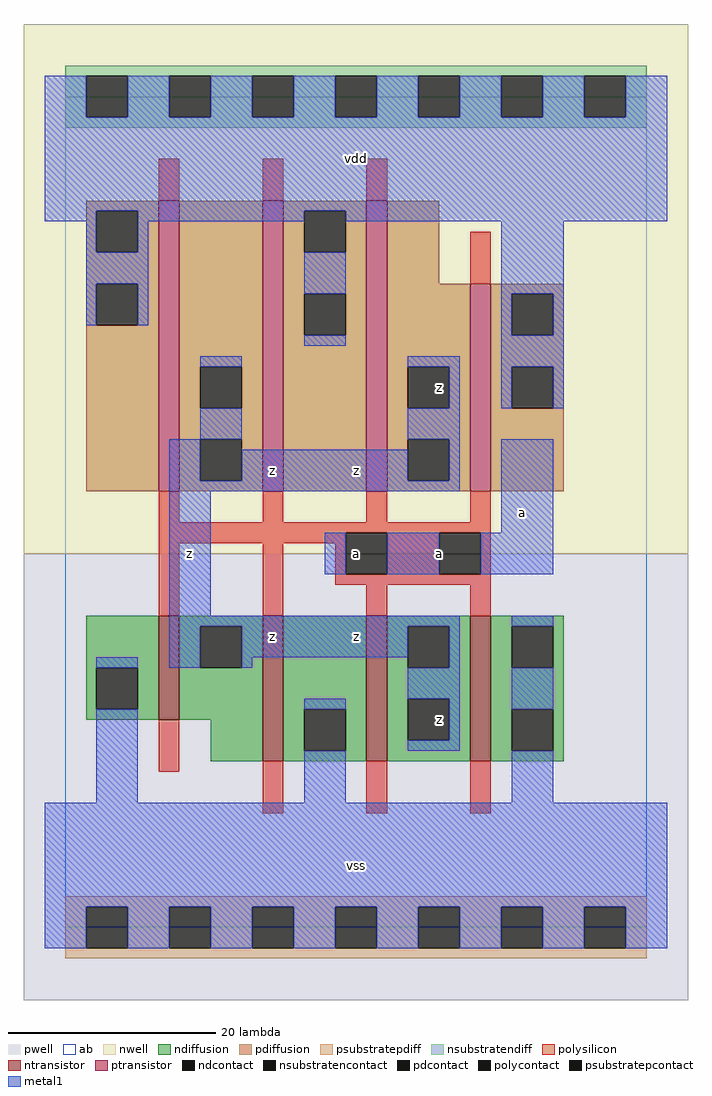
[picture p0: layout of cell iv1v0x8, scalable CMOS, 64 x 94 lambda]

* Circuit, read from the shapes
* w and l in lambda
.subckt iv1v0x8 a vdd vss z
M1 z a vss vss nfet w=10 l=2
M2 vss a z vss nfet w=14 l=2 m=3
M3 z a vdd vdd pfet w=28 l=2 m=3
M4 vdd a z vdd pfet w=20 l=2
.ends

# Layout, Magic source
magic
tech scmos
<< ab >>
rect 0 0 56 80
<< pwell >>
rect -4 -7 60 36
<< nwell >>
rect -4 36 60 87
<< polysilicon >>
rect 9 70 11 74
rect 19 70 21 74
rect 29 70 31 74
rect 39 62 41 67
rect 9 39 11 42
rect 19 39 21 42
rect 29 39 31 42
rect 39 39 41 42
rect 9 38 41 39
rect 9 37 27 38
rect 9 30 11 37
rect 19 30 21 37
rect 26 34 27 37
rect 31 34 36 38
rect 40 34 41 38
rect 26 33 41 34
rect 29 30 31 33
rect 39 30 41 33
rect 9 15 11 20
rect 19 11 21 16
rect 29 11 31 16
rect 39 11 41 16
<< ndiffusion >>
rect 2 25 9 30
rect 2 21 3 25
rect 7 21 9 25
rect 2 20 9 21
rect 11 29 19 30
rect 11 25 13 29
rect 17 25 19 29
rect 11 20 19 25
rect 14 16 19 20
rect 21 21 29 30
rect 21 17 23 21
rect 27 17 29 21
rect 21 16 29 17
rect 31 29 39 30
rect 31 25 33 29
rect 37 25 39 29
rect 31 22 39 25
rect 31 18 33 22
rect 37 18 39 22
rect 31 16 39 18
rect 41 29 48 30
rect 41 25 43 29
rect 47 25 48 29
rect 41 21 48 25
rect 41 17 43 21
rect 47 17 48 21
rect 41 16 48 17
<< pdiffusion >>
rect 2 69 9 70
rect 2 65 3 69
rect 7 65 9 69
rect 2 62 9 65
rect 2 58 3 62
rect 7 58 9 62
rect 2 42 9 58
rect 11 54 19 70
rect 11 50 13 54
rect 17 50 19 54
rect 11 47 19 50
rect 11 43 13 47
rect 17 43 19 47
rect 11 42 19 43
rect 21 69 29 70
rect 21 65 23 69
rect 27 65 29 69
rect 21 61 29 65
rect 21 57 23 61
rect 27 57 29 61
rect 21 42 29 57
rect 31 62 36 70
rect 31 54 39 62
rect 31 50 33 54
rect 37 50 39 54
rect 31 47 39 50
rect 31 43 33 47
rect 37 43 39 47
rect 31 42 39 43
rect 41 61 48 62
rect 41 57 43 61
rect 47 57 48 61
rect 41 54 48 57
rect 41 50 43 54
rect 47 50 48 54
rect 41 42 48 50
<< metal1 >>
rect -2 78 2 82
rect 6 78 10 82
rect 14 78 18 82
rect 22 78 26 82
rect 30 78 34 82
rect 38 78 42 82
rect 46 78 50 82
rect 54 78 58 82
rect -2 69 58 78
rect -2 68 3 69
rect 2 65 3 68
rect 7 68 23 69
rect 7 65 8 68
rect 2 62 8 65
rect 2 58 3 62
rect 7 58 8 62
rect 27 68 58 69
rect 23 61 27 65
rect 23 56 27 57
rect 42 61 48 68
rect 42 57 43 61
rect 47 57 48 61
rect 13 54 17 55
rect 13 47 17 50
rect 10 43 13 47
rect 33 54 38 55
rect 37 50 38 54
rect 42 54 48 57
rect 42 50 43 54
rect 47 50 48 54
rect 33 47 38 50
rect 17 43 33 46
rect 37 43 38 47
rect 10 42 38 43
rect 10 30 14 42
rect 42 38 47 47
rect 25 34 27 38
rect 31 34 36 38
rect 40 34 47 38
rect 10 29 38 30
rect 3 25 7 26
rect 10 25 13 29
rect 17 26 33 29
rect 17 25 18 26
rect 37 25 38 29
rect 33 22 38 25
rect 3 12 7 21
rect 23 21 27 22
rect 37 18 38 22
rect 33 17 38 18
rect 43 29 47 30
rect 43 21 47 25
rect 23 12 27 17
rect 43 12 47 17
rect -2 2 58 12
rect -2 -2 2 2
rect 6 -2 10 2
rect 14 -2 18 2
rect 22 -2 26 2
rect 30 -2 34 2
rect 38 -2 42 2
rect 46 -2 50 2
rect 54 -2 58 2
<< ntransistor >>
rect 9 20 11 30
rect 19 16 21 30
rect 29 16 31 30
rect 39 16 41 30
<< ptransistor >>
rect 9 42 11 70
rect 19 42 21 70
rect 29 42 31 70
rect 39 42 41 62
<< polycontact >>
rect 27 34 31 38
rect 36 34 40 38
<< ndcontact >>
rect 3 21 7 25
rect 13 25 17 29
rect 23 17 27 21
rect 33 25 37 29
rect 33 18 37 22
rect 43 25 47 29
rect 43 17 47 21
<< pdcontact >>
rect 3 65 7 69
rect 3 58 7 62
rect 13 50 17 54
rect 13 43 17 47
rect 23 65 27 69
rect 23 57 27 61
rect 33 50 37 54
rect 33 43 37 47
rect 43 57 47 61
rect 43 50 47 54
<< psubstratepcontact >>
rect 2 -2 6 2
rect 10 -2 14 2
rect 18 -2 22 2
rect 26 -2 30 2
rect 34 -2 38 2
rect 42 -2 46 2
rect 50 -2 54 2
<< nsubstratencontact >>
rect 2 78 6 82
rect 10 78 14 82
rect 18 78 22 82
rect 26 78 30 82
rect 34 78 38 82
rect 42 78 46 82
rect 50 78 54 82
<< psubstratepdiff >>
rect 0 2 56 3
rect 0 -2 2 2
rect 6 -2 10 2
rect 14 -2 18 2
rect 22 -2 26 2
rect 30 -2 34 2
rect 38 -2 42 2
rect 46 -2 50 2
rect 54 -2 56 2
rect 0 -3 56 -2
<< nsubstratendiff >>
rect 0 82 56 83
rect 0 78 2 82
rect 6 78 10 82
rect 14 78 18 82
rect 22 78 26 82
rect 30 78 34 82
rect 38 78 42 82
rect 46 78 50 82
rect 54 78 56 82
rect 0 77 56 78
<< labels >>
rlabel metal1 12 36 12 36 6 z
rlabel metal1 20 28 20 28 6 z
rlabel metal1 20 44 20 44 6 z
rlabel metal1 28 6 28 6 6 vss
rlabel ndcontact 36 20 36 20 6 z
rlabel metal1 28 28 28 28 6 z
rlabel polycontact 28 36 28 36 6 a
rlabel metal1 36 36 36 36 6 a
rlabel metal1 28 44 28 44 6 z
rlabel pdcontact 36 52 36 52 6 z
rlabel metal1 28 74 28 74 6 vdd
rlabel metal1 44 40 44 40 6 a
<< end >>
